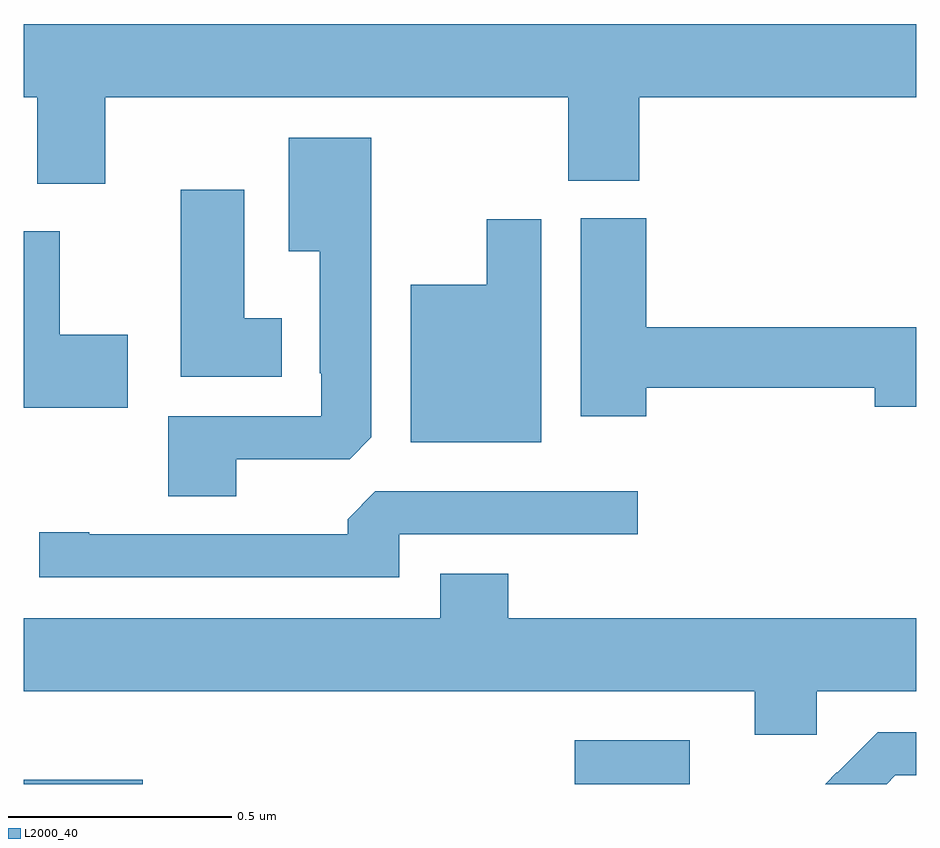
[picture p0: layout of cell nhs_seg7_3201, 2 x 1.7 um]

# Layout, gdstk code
import gdstk
lib = gdstk.Library(unit=1e-6, precision=1e-09)
def R(c, l, rs):  # rectangles x0, y0, x1, y1
    for r in rs: c.add(gdstk.rectangle(r[:2], r[2:], *l))
def P(c, l, *ps):  # polygons
    for p in ps: c.add(gdstk.Polygon(p, *l))
L2000_40 = (2000, 40)

nhs_seg7_3201 = lib.new_cell('nhs_seg7_3201')
R(nhs_seg7_3201, L2000_40, [(155,1075,155.266,1075.009), (156.235,1075,156.493,1075.098)])
P(nhs_seg7_3201, L2000_40, [(155.182,1076.54),(156.22,1076.54),(156.22,1076.353),(156.38,1076.353),(156.38,1076.54),(157,1076.54),(157,1076.704),(155,1076.704),(155,1076.54),(155.03,1076.54),(155.03,1076.346),(155.182,1076.346)],
  [(155.476,1075.728),(155.73,1075.728),(155.779,1075.777),(155.779,1076.449),(155.594,1076.449),(155.594,1076.195),(155.663,1076.195),(155.663,1075.921),(155.667,1075.921),(155.667,1075.824),(155.324,1075.824),(155.324,1075.645),(155.476,1075.645)],
  [(155.578,1076.044),(155.494,1076.044),(155.494,1076.332),(155.351,1076.332),(155.351,1075.913),(155.578,1075.913)],
  [(156.395,1075.888),(156.908,1075.888),(156.908,1075.846),(157,1075.846),(157,1076.024),(156.395,1076.024),(156.395,1076.268),(156.248,1076.268),(156.248,1075.824),(156.395,1075.824)],
  [(156.16,1076.266),(156.038,1076.266),(156.038,1076.119),(155.867,1076.119),(155.867,1075.766),(156.16,1075.766)],
  [(155.233,1076.007),(155.08,1076.007),(155.08,1076.239),(155,1076.239),(155,1075.844),(155.233,1075.844)],
  [(155.841,1075.56),(156.376,1075.56),(156.376,1075.656),(155.787,1075.656),(155.726,1075.594),(155.726,1075.56),(155.146,1075.56),(155.146,1075.565),(155.034,1075.565),(155.034,1075.464),(155.841,1075.464)],
  [(156.777,1075.208),(157,1075.208),(157,1075.372),(156.086,1075.372),(156.086,1075.471),(155.933,1075.471),(155.933,1075.372),(155,1075.372),(155,1075.208),(156.638,1075.208),(156.638,1075.11),(156.777,1075.11)],
  [(156.954,1075.02),(157,1075.02),(157,1075.116),(156.914,1075.116),(156.823,1075.025),(156.822,1075.026),(156.796,1075),(156.934,1075)])

lib.write_gds('nhs_seg7_3201.gds')
